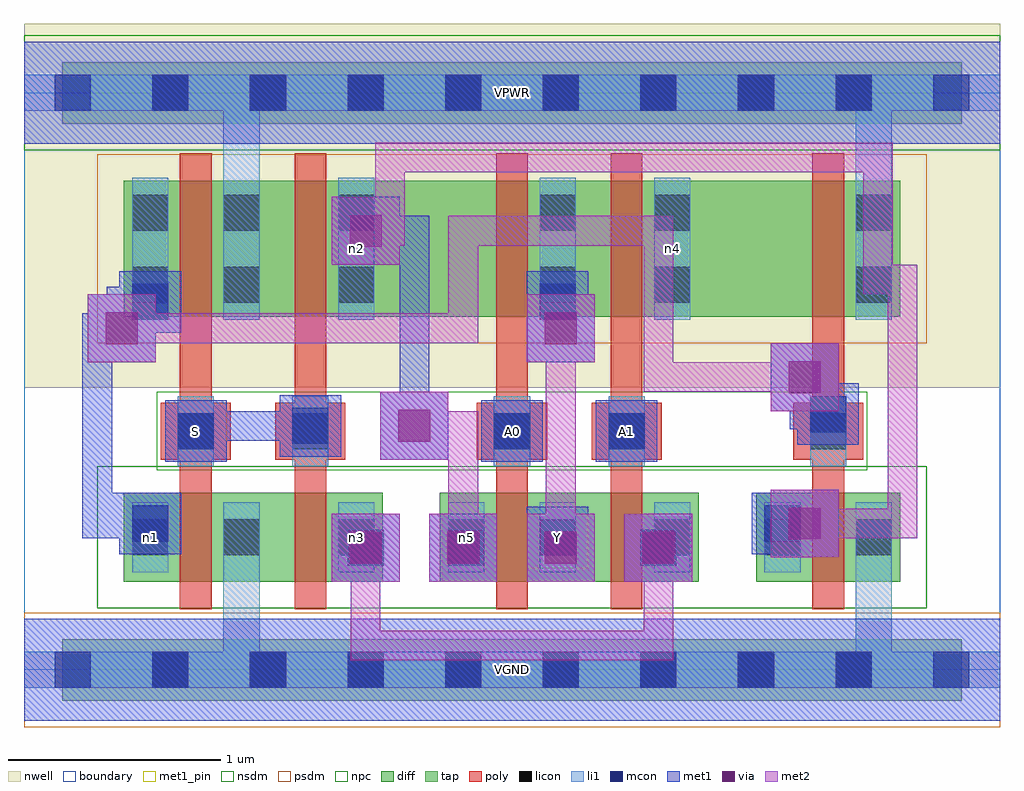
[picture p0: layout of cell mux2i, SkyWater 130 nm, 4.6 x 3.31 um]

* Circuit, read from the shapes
.subckt mux2i A0 A1 S VGND VPWR Y n1 n2 n3 n4 n5
XM1 VGND S n1 VGND sky130_fd_pr__nfet_01v8 w=0.42 l=0.15
XM2 n3 S VGND VGND sky130_fd_pr__nfet_01v8 w=0.42 l=0.15
XM3 Y A0 n5 VGND sky130_fd_pr__nfet_01v8 w=0.42 l=0.15
XM4 n3 A1 Y VGND sky130_fd_pr__nfet_01v8 w=0.42 l=0.15
XM5 VGND n1 n5 VGND sky130_fd_pr__nfet_01v8 w=0.42 l=0.15
XM6 VPWR S n1 VPWR sky130_fd_pr__pfet_01v8 w=0.64 l=0.15
XM7 n2 S VPWR VPWR sky130_fd_pr__pfet_01v8 w=0.64 l=0.15
XM8 Y A0 n2 VPWR sky130_fd_pr__pfet_01v8 w=0.64 l=0.15
XM9 n4 A1 Y VPWR sky130_fd_pr__pfet_01v8 w=0.64 l=0.15
XM10 VPWR n1 n4 VPWR sky130_fd_pr__pfet_01v8 w=0.64 l=0.15
.ends

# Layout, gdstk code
import gdstk
lib = gdstk.Library(unit=1e-6, precision=1e-09)
def R(c, l, rs):  # rectangles x0, y0, x1, y1
    for r in rs: c.add(gdstk.rectangle(r[:2], r[2:], *l))
def A(c, l, x, y, w, h, nx, ny, dx, dy):  # array of equal rectangles
    R(c, l, [(x+i*dx, y+j*dy, x+i*dx+w, y+j*dy+h) for i in range(nx) for j in range(ny)])
nwell = (64, 20)
diff = (65, 20)
tap = (65, 44)
poly = (66, 20)
licon = (66, 44)
li1 = (67, 20)
mcon = (67, 44)
met1_pin = (68, 16)
met1 = (68, 20)
via = (68, 44)
met2 = (69, 20)
nsdm = (93, 44)
psdm = (94, 20)
npc = (95, 20)
boundary = (235, 4)

mux2i = lib.new_cell('mux2i')
R(mux2i, nwell, [(0,1.33,4.6,3.045)])
R(mux2i, diff, [(0.47,0.415,1.69,0.835), (1.96,0.415,3.18,0.835), (3.45,0.415,4.13,0.835), (0.47,1.665,4.13,2.305)])
R(mux2i, tap, [(0.18,-0.145,4.42,0.145), (0.18,2.575,4.42,2.865)])
R(mux2i, poly, [(0.735,0.285,0.885,2.435), (1.275,0.285,1.425,2.435), (2.225,0.285,2.375,2.435), (2.765,0.285,2.915,2.435), (3.715,0.285,3.865,2.435), (0.645,0.99,0.975,1.26), (1.185,0.99,1.515,1.26), (2.135,0.99,2.465,1.26), (2.675,0.99,3.005,1.26), (3.625,0.99,3.955,1.26)])
A(mux2i, licon, 0.605, -0.085, 0.17, 0.17, 8, 2, 0.46, 2.72)
R(mux2i, licon, [(0.51,0.54,0.68,0.71), (0.94,0.54,1.11,0.71), (1.48,0.54,1.65,0.71), (2,0.54,2.17,0.71), (2.43,0.54,2.6,0.71), (2.97,0.54,3.14,0.71), (3.49,0.54,3.66,0.71), (3.92,0.54,4.09,0.71), (0.725,1.04,0.895,1.21), (1.265,1.04,1.435,1.21), (2.215,1.04,2.385,1.21), (2.755,1.04,2.925,1.21), (3.705,1.04,3.875,1.21), (0.51,1.73,0.68,1.9), (0.94,1.73,1.11,1.9), (1.48,1.73,1.65,1.9), (2.43,1.73,2.6,1.9), (2.97,1.73,3.14,1.9), (3.92,1.73,4.09,1.9), (0.51,2.07,0.68,2.24), (0.94,2.07,1.11,2.24), (1.48,2.07,1.65,2.24), (2.43,2.07,2.6,2.24), (2.97,2.07,3.14,2.24), (3.92,2.07,4.09,2.24)])
R(mux2i, li1, [(0,-0.085,4.6,0.085), (0.94,-0.085,1.11,0.79), (3.92,-0.085,4.09,0.79), (0.51,0.46,0.68,0.79), (0.94,0.46,1.11,0.79), (1.48,0.46,1.65,0.79), (2,0.46,2.17,0.79), (2.43,0.46,2.6,0.79), (2.97,0.46,3.14,0.79), (3.49,0.46,3.66,0.79), (3.92,0.46,4.09,0.79), (1.48,0.49,1.695,0.66), (2.905,0.49,3.14,0.66), (0.725,0.96,0.895,1.29), (1.265,0.96,1.435,1.29), (2.215,0.96,2.385,1.29), (2.755,0.96,2.925,1.29), (3.705,0.96,3.875,1.29), (0.51,1.65,0.68,2.32), (0.94,1.65,1.11,2.32), (0.94,1.65,1.11,2.805), (1.48,1.65,1.65,2.32), (2.43,1.65,2.6,2.32), (2.97,1.65,3.14,2.32), (3.92,1.65,4.09,2.32), (3.92,1.65,4.09,2.805), (0,2.635,4.6,2.805)])
A(mux2i, mcon, 0.145, -0.085, 0.17, 0.17, 10, 2, 0.46, 2.72)
R(mux2i, mcon, [(1.525,0.49,1.695,0.66), (2,0.49,2.17,0.66), (2.905,0.49,3.075,0.66), (2.43,0.54,2.6,0.71), (0.51,0.605,0.68,0.775), (3.49,0.605,3.66,0.775), (0.725,1.04,0.895,1.21), (2.215,1.04,2.385,1.21), (2.755,1.04,2.925,1.21), (1.265,1.065,1.435,1.235), (3.705,1.12,3.875,1.29), (0.51,1.65,0.68,1.82), (2.43,1.65,2.6,1.82)])
R(mux2i, met1_pin, [(0,-0.24,4.6,0.24), (2.37,0.48,2.66,0.77), (0.665,0.98,0.955,1.27), (2.155,0.98,2.445,1.27), (2.695,0.98,2.985,1.27), (0,2.48,4.6,2.96)])
A(mux2i, met1, 1.45, 0.415, 0.32, 0.32, 4, 1, 0.46, 0)
R(mux2i, met1, [(0,-0.24,4.6,0.24), (1.465,0.43,1.755,0.72), (1.94,0.43,2.23,0.72), (2.845,0.43,3.135,0.72), (2.37,0.48,2.66,0.77), (2,0.505,2.155,0.645), (2.46,0.505,2.6,0.645), (3.52,0.53,3.84,0.85), (0.45,0.545,0.74,0.835), (3.43,0.545,3.72,0.835), (0.275,0.62,0.53,0.76), (0.275,0.62,0.415,1.68), (0.39,0.62,0.665,0.76), (0.415,0.62,0.45,0.835), (3.505,0.62,3.75,0.76), (0.665,0.98,0.955,1.27), (2.155,0.98,2.445,1.27), (2.695,0.98,2.985,1.27), (1.68,0.99,2,1.31), (1.205,1.005,1.495,1.295), (3.645,1.06,3.935,1.35), (0.735,1.08,0.875,1.22), (0.735,1.08,1.22,1.22), (1.08,1.08,1.42,1.22), (1.77,1.08,1.91,2.14), (3.61,1.135,3.86,1.275), (3.61,1.135,3.75,1.45), (3.52,1.22,3.84,1.54), (0.3,1.45,0.62,1.77), (2.37,1.45,2.69,1.77), (0.275,1.54,0.53,1.68), (0.39,1.54,0.53,1.805), (2.46,1.54,2.6,1.805), (0.45,1.59,0.74,1.88), (2.37,1.59,2.66,1.88), (0.39,1.665,0.665,1.805), (2.445,1.665,2.6,1.805), (1.45,1.91,1.77,2.23), (1.54,2,1.91,2.14), (0,2.48,4.6,2.96)])
A(mux2i, via, 1.535, 0.5, 0.15, 0.15, 4, 1, 0.46, 0)
R(mux2i, via, [(3.605,0.615,3.755,0.765), (1.765,1.075,1.915,1.225), (3.605,1.305,3.755,1.455), (0.385,1.535,0.535,1.685), (2.455,1.535,2.605,1.685), (1.535,1.995,1.685,2.145)])
A(mux2i, met2, 1.45, 0.415, 0.32, 0.32, 4, 1, 0.46, 0)
R(mux2i, met2, [(1.54,0.045,1.68,0.645), (1.54,0.045,3.06,0.185), (2.92,0.045,3.06,0.645), (2,0.505,2.14,1.22), (2.46,0.505,2.6,1.68), (3.52,0.53,3.84,0.85), (3.61,0.62,4.21,0.76), (4.07,0.62,4.21,1.91), (1.68,0.99,2,1.31), (1.77,1.08,2.14,1.22), (3.52,1.22,3.84,1.54), (2.92,1.31,3.06,2.14), (2.92,1.31,3.75,1.45), (0.3,1.45,0.62,1.77), (2.37,1.45,2.69,1.77), (0.39,1.54,2.14,1.68), (2,1.54,2.14,2.14), (3.955,1.77,4.095,2.485), (3.955,1.77,4.21,1.91), (1.45,1.91,1.77,2.23), (1.54,2,1.795,2.14), (1.655,2,1.795,2.485), (2,2,3.06,2.14), (1.655,2.345,4.095,2.485)])
R(mux2i, nsdm, [(0.345,0.29,4.255,0.96), (0,2.45,4.6,2.99)])
R(mux2i, psdm, [(0,-0.27,4.6,0.27), (0.345,1.54,4.255,2.43)])
R(mux2i, npc, [(0.625,0.94,3.975,1.31)])
R(mux2i, boundary, [(0,0,4.6,2.72)])
mux2i.add(gdstk.Label('n1', (0.595,0.625), layer=67, texttype=5))
mux2i.add(gdstk.Label('n3', (1.565,0.625), layer=67, texttype=5))
mux2i.add(gdstk.Label('n5', (2.085,0.625), layer=67, texttype=5))
mux2i.add(gdstk.Label('n2', (1.565,1.985), layer=67, texttype=5))
mux2i.add(gdstk.Label('n4', (3.055,1.985), layer=67, texttype=5))
mux2i.add(gdstk.Label('S', (0.81,1.125), layer=68, texttype=5))
mux2i.add(gdstk.Label('A0', (2.3,1.125), layer=68, texttype=5))
mux2i.add(gdstk.Label('A1', (2.84,1.125), layer=68, texttype=5))
mux2i.add(gdstk.Label('Y', (2.515,0.625), layer=68, texttype=5))
mux2i.add(gdstk.Label('VPWR', (2.3,2.72), layer=68, texttype=5))
mux2i.add(gdstk.Label('VGND', (2.3,0), layer=68, texttype=5))
mux2i.add(gdstk.Label('S', (0.81,1.125), layer=68, texttype=16))
mux2i.add(gdstk.Label('A0', (2.3,1.125), layer=68, texttype=16))
mux2i.add(gdstk.Label('A1', (2.84,1.125), layer=68, texttype=16))
mux2i.add(gdstk.Label('Y', (2.515,0.625), layer=68, texttype=16))
mux2i.add(gdstk.Label('VPWR', (2.3,2.72), layer=68, texttype=16))
mux2i.add(gdstk.Label('VGND', (2.3,0), layer=68, texttype=16))

lib.write_gds('mux2i.gds')
